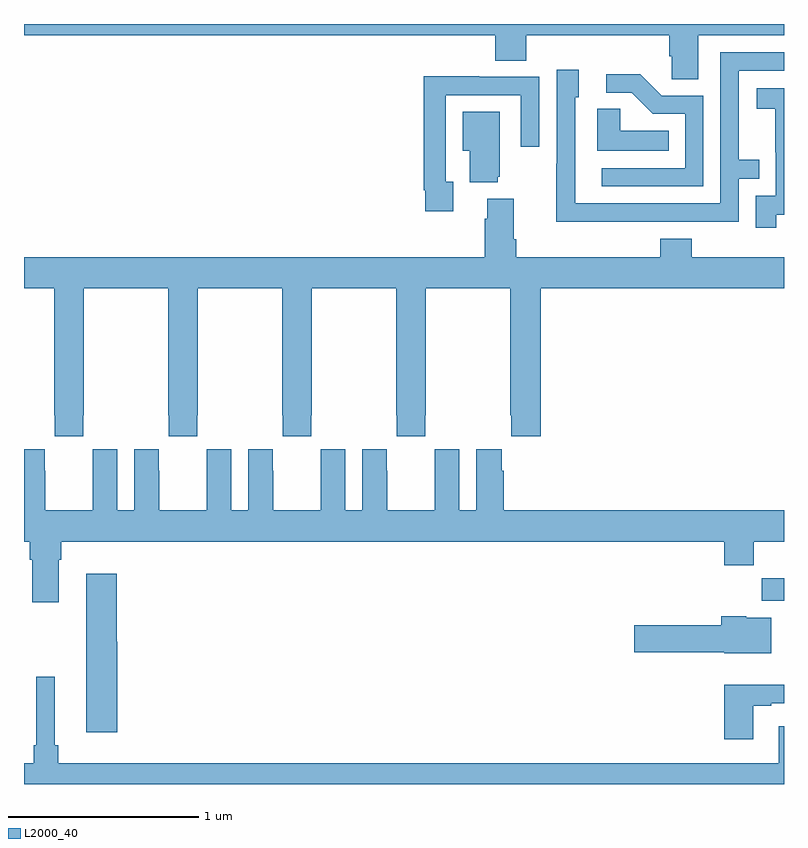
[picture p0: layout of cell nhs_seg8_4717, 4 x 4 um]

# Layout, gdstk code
import gdstk
lib = gdstk.Library(unit=1e-6, precision=1e-09)
def R(c, l, rs):  # rectangles x0, y0, x1, y1
    for r in rs: c.add(gdstk.rectangle(r[:2], r[2:], *l))
def P(c, l, *ps):  # polygons
    for p in ps: c.add(gdstk.Polygon(p, *l))
L2000_40 = (2000, 40)

nhs_seg8_4717 = lib.new_cell('nhs_seg8_4717')
R(nhs_seg8_4717, L2000_40, [(400.882,1106.864,401,1106.983)])
P(nhs_seg8_4717, L2000_40, [(400.549,1109.84),(401,1109.84),(401,1109.9),(397,1109.9),(397,1109.84),(399.479,1109.84),(399.479,1109.707),(399.644,1109.707),(399.644,1109.84),(400.397,1109.84),(400.397,1109.731),(400.41,1109.731),(400.41,1109.608),(400.549,1109.608)],
  [(400.265,1108.86),(400.761,1108.86),(400.761,1109.085),(400.871,1109.085),(400.871,1109.186),(400.761,1109.186),(400.761,1109.655),(401,1109.655),(401,1109.751),(400.665,1109.751),(400.665,1108.956),(399.9,1108.956),(399.9,1109.514),(399.919,1109.514),(399.919,1109.659),(399.804,1109.659),(399.804,1109.165),(399.802,1109.165),(399.802,1108.859),(400.265,1108.859)],
  [(400.575,1109.523),(400.356,1109.523),(400.243,1109.636),(400.065,1109.636),(400.065,1109.538),(400.199,1109.538),(400.31,1109.427),(400.479,1109.427),(400.479,1109.142),(400.041,1109.142),(400.041,1109.046),(400.575,1109.046)],
  [(399.259,1109.07),(399.219,1109.07),(399.219,1109.526),(399.615,1109.526),(399.615,1109.253),(399.711,1109.253),(399.711,1109.622),(399.395,1109.622),(399.395,1109.624),(399.103,1109.624),(399.103,1109.026),(399.111,1109.026),(399.111,1108.914),(399.259,1108.914)],
  [(400.96,1108.897),(401,1108.897),(401,1109.563),(400.857,1109.563),(400.857,1109.453),(400.955,1109.453),(400.955,1109.225),(400.956,1109.225),(400.956,1108.995),(400.851,1108.995),(400.851,1108.827),(400.96,1108.827)],
  [(400.394,1109.338),(400.137,1109.338),(400.137,1109.453),(400.016,1109.453),(400.016,1109.234),(400.394,1109.234)],
  [(399.494,1109.097),(399.505,1109.097),(399.505,1109.437),(399.308,1109.437),(399.308,1109.234),(399.347,1109.234),(399.347,1109.066),(399.494,1109.066)],
  [(399.559,1107.841),(399.565,1107.841),(399.565,1107.729),(399.719,1107.729),(399.719,1108.508),(401,1108.508),(401,1108.672),(400.514,1108.672),(400.514,1108.771),(400.349,1108.771),(400.349,1108.672),(399.59,1108.672),(399.59,1108.768),(399.577,1108.768),(399.577,1108.981),(399.437,1108.981),(399.437,1108.874),(399.425,1108.874),(399.425,1108.672),(397,1108.672),(397,1108.508),(397.159,1108.508),(397.159,1107.841),(397.161,1107.841),(397.161,1107.729),(397.311,1107.729),(397.311,1107.841),(397.314,1107.841),(397.314,1108.508),(397.759,1108.508),(397.759,1107.841),(397.761,1107.841),(397.761,1107.729),(397.911,1107.729),(397.911,1107.841),(397.914,1107.841),(397.914,1108.508),(398.359,1108.508),(398.359,1107.841),(398.361,1107.841),(398.361,1107.729),(398.511,1107.729),(398.511,1107.841),(398.514,1107.841),(398.514,1108.508),(398.959,1108.508),(398.959,1107.841),(398.961,1107.841),(398.961,1107.729),(399.111,1107.729),(399.111,1107.841),(399.114,1107.841),(399.114,1108.508),(399.559,1108.508)],
  [(397,1107.661),(397,1107.176),(397.031,1107.176),(397.031,1107.08),(397.043,1107.08),(397.043,1106.856),(397.183,1106.856),(397.183,1107.08),(397.196,1107.08),(397.196,1107.176),(400.685,1107.176),(400.685,1107.052),(400.841,1107.052),(400.841,1107.176),(401,1107.176),(401,1107.34),(399.524,1107.34),(399.524,1107.548),(399.514,1107.548),(399.514,1107.661),(399.38,1107.661),(399.38,1107.34),(399.292,1107.34),(399.292,1107.661),(399.162,1107.661),(399.162,1107.548),(399.161,1107.548),(399.161,1107.34),(398.911,1107.34),(398.911,1107.548),(398.91,1107.548),(398.91,1107.661),(398.78,1107.661),(398.78,1107.34),(398.692,1107.34),(398.692,1107.661),(398.562,1107.661),(398.562,1107.548),(398.561,1107.548),(398.561,1107.34),(398.311,1107.34),(398.311,1107.548),(398.31,1107.548),(398.31,1107.661),(398.18,1107.661),(398.18,1107.34),(398.092,1107.34),(398.092,1107.661),(397.962,1107.661),(397.962,1107.548),(397.961,1107.548),(397.961,1107.34),(397.711,1107.34),(397.711,1107.548),(397.71,1107.548),(397.71,1107.661),(397.58,1107.661),(397.58,1107.34),(397.492,1107.34),(397.492,1107.661),(397.362,1107.661),(397.362,1107.548),(397.361,1107.548),(397.361,1107.34),(397.111,1107.34),(397.111,1107.548),(397.11,1107.548),(397.11,1107.661)],
  [(397.492,1106.649),(397.487,1106.649),(397.487,1107.007),(397.328,1107.007),(397.328,1106.172),(397.492,1106.172)],
  [(400.933,1106.776),(400.8,1106.776),(400.8,1106.782),(400.67,1106.782),(400.67,1106.736),(400.212,1106.736),(400.212,1106.594),(400.686,1106.594),(400.686,1106.588),(400.933,1106.588)],
  [(401,1106.203),(400.973,1106.203),(400.973,1106.008),(397.181,1106.008),(397.181,1106.104),(397.162,1106.104),(397.162,1106.464),(397.065,1106.464),(397.065,1106.104),(397.052,1106.104),(397.052,1106.008),(397,1106.008),(397,1105.9),(401,1105.9)],
  [(400.837,1106.313),(400.933,1106.313),(400.933,1106.325),(401,1106.325),(401,1106.422),(400.685,1106.422),(400.685,1106.136),(400.837,1106.136)])

lib.write_gds('nhs_seg8_4717.gds')
